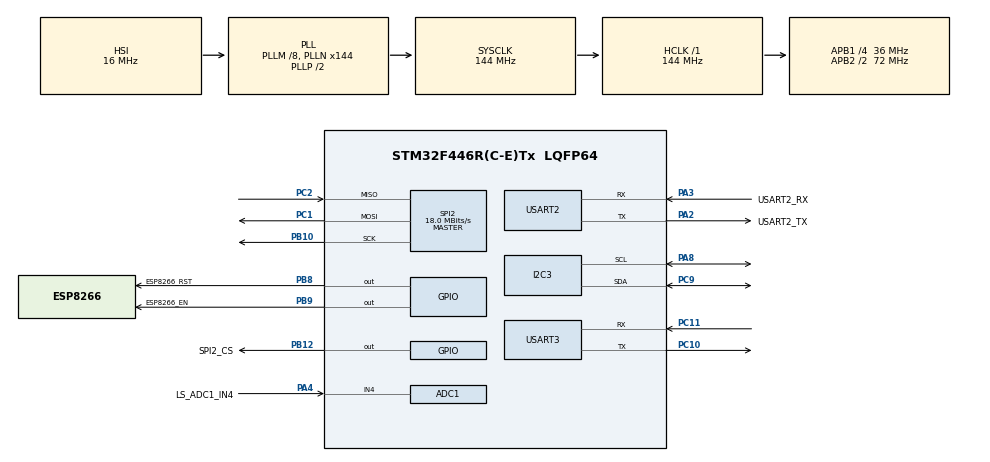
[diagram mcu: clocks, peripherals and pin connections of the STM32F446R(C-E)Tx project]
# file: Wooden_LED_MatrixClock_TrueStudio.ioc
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ADC1.Channel-0\#ChannelRegularConversion=ADC_CHANNEL_4
ADC1.NbrOfConversionFlag=1
ADC1.Rank-0\#ChannelRegularConversion=1
ADC1.SamplingTime-0\#ChannelRegularConversion=ADC_SAMPLETIME_3CYCLES
ADC1.master=1
Mcu.Family=STM32F4
Mcu.Name=STM32F446R(C-E)Tx
Mcu.Package=LQFP64
NVIC.I2C3_ER_IRQn=true\:0\:7\:false\:false\:true\:true\:true
NVIC.I2C3_EV_IRQn=true\:0\:6\:false\:false\:true\:true\:true
NVIC.PriorityGroup=NVIC_PRIORITYGROUP_0
NVIC.RTC_Alarm_IRQn=true\:0\:8\:false\:false\:true\:true\:true
NVIC.SPI2_IRQn=true\:0\:3\:false\:false\:true\:true\:true
NVIC.TIM3_IRQn=true\:0\:1\:false\:false\:true\:true\:true
NVIC.TIM4_IRQn=true\:0\:2\:false\:false\:true\:true\:true
NVIC.USART2_IRQn=true\:0\:4\:false\:false\:true\:true\:true
NVIC.USART3_IRQn=true\:0\:5\:false\:false\:true\:true\:true
PA13.GPIO_Label=SWDIO
PA13.Mode=Serial_Wire
PA13.Signal=SYS_JTMS-SWDIO
PA14.GPIO_Label=SWDCLK
PA14.Mode=Serial_Wire
PA14.Signal=SYS_JTCK-SWCLK
PA2.GPIO_Label=USART2_TX
PA2.Mode=Asynchronous
PA2.Signal=USART2_TX
PA3.GPIO_Label=USART2_RX
PA3.Mode=Asynchronous
PA3.Signal=USART2_RX
PA4.GPIO_Label=LS_ADC1_IN4
PA4.Signal=ADCx_IN4
PA8.Mode=I2C
PA8.Signal=I2C3_SCL
PB10.Mode=Full_Duplex_Master
PB10.Signal=SPI2_SCK
PB12.GPIO_Label=SPI2_CS
PB12.Signal=GPIO_Output
PB8.GPIO_Label=ESP8266_RST
PB8.Signal=GPIO_Output
PB9.GPIO_Label=ESP8266_EN
PB9.Signal=GPIO_Output
PC1.Mode=Full_Duplex_Master
PC1.Signal=SPI2_MOSI
PC10.Mode=Asynchronous
PC10.Signal=USART3_TX
PC11.Mode=Asynchronous
PC11.Signal=USART3_RX
PC14-OSC32_IN.Mode=LSE-External-Oscillator
PC14-OSC32_IN.Signal=RCC_OSC32_IN
PC15-OSC32_OUT.Mode=LSE-External-Oscillator
PC15-OSC32_OUT.Signal=RCC_OSC32_OUT
PC2.Mode=Full_Duplex_Master
PC2.Signal=SPI2_MISO
PC9.Mode=I2C
PC9.Signal=I2C3_SDA
PH0-OSC_IN.Signal=RCC_OSC_IN
PH1-OSC_OUT.Signal=RCC_OSC_OUT
ProjectManager.HeapSize=0x200
ProjectManager.StackSize=0x400
ProjectManager.TargetToolchain=TrueSTUDIO
RCC.48MHZClocksFreq_Value=84000000
RCC.AHBFreq_Value=144000000
RCC.APB1CLKDivider=RCC_HCLK_DIV4
RCC.APB1Freq_Value=36000000
RCC.APB1TimFreq_Value=72000000
RCC.APB2CLKDivider=RCC_HCLK_DIV2
RCC.APB2Freq_Value=72000000
RCC.APB2TimFreq_Value=144000000
RCC.CortexFreq_Value=144000000
RCC.FLatency-AdvancedSettings=FLASH_LATENCY_4
RCC.HCLKFreq_Value=144000000
RCC.HSE_VALUE=8000000
RCC.HSI_VALUE=16000000
RCC.PLLM=8
RCC.PLLN=144
RCC.PLLQ=6
RCC.PLLSAIP=RCC_PLLSAIP_DIV4
RCC.SYSCLKFreq_VALUE=144000000
RCC.SYSCLKSource=RCC_SYSCLKSOURCE_PLLCLK
RCC.USBCLockSelection=RCC_CLK48CLKSOURCE_PLLSAIP
RCC.USBFreq_Value=48000000
RCC.VCOOutputFreq_Value=288000000
RTC.Alarm=RTC_ALARM_A
RTC.Date=13
RTC.Format=RTC_FORMAT_BIN
RTC.Hours=9
RTC.Minutes=23
RTC.Month=RTC_MONTH_SEPTEMBER
RTC.WeekDay=RTC_WEEKDAY_SUNDAY
RTC.Year=20
SH.ADCx_IN4.0=ADC1_IN4,IN4
SPI2.BaudRatePrescaler=SPI_BAUDRATEPRESCALER_2
SPI2.CalculateBaudRate=18.0 MBits/s
SPI2.Direction=SPI_DIRECTION_2LINES
SPI2.Mode=SPI_MODE_MASTER
SPI2.VirtualType=VM_MASTER
TIM3.AutoReloadPreload=TIM_AUTORELOAD_PRELOAD_ENABLE
TIM3.CounterMode=TIM_COUNTERMODE_DOWN
TIM3.Period=1600
TIM3.Prescaler=1000
TIM4.AutoReloadPreload=TIM_AUTORELOAD_PRELOAD_ENABLE
TIM4.CounterMode=TIM_COUNTERMODE_DOWN
TIM4.Period=1500
TIM4.Prescaler=1000
USART2.VirtualMode=VM_ASYNC
USART3.VirtualMode=VM_ASYNC
VP_RTC_VS_RTC_Activate.Mode=RTC_Enabled
VP_RTC_VS_RTC_Alarm_A_Intern.Mode=Alarm A
VP_RTC_VS_RTC_Calendar.Mode=RTC_Calendar
VP_TIM3_VS_ClockSourceINT.Mode=Internal
VP_TIM4_VS_ClockSourceINT.Mode=Internal
board=NUCLEO-F446RE

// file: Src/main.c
/* USER CODE BEGIN Header */
/**
 ******************************************************************************
 * @file           : main.c
 * @brief          : Main program body
 ******************************************************************************
 * @attention
 *
 * <h2><center>&copy; Copyright (c) 2020 STMicroelectronics.
 * All rights reserved.</center></h2>
 *
 * This software component is licensed by ST under BSD 3-Clause license,
 * the "License"; You may not use this file except in compliance with the
 * License. You may obtain a copy of the License at:
 *                        opensource.org/licenses/BSD-3-Clause
 *
 ******************************************************************************
 */
/* USER CODE END Header */

#include "main.h"

void SystemClock_Config(void);

int main(void) {

	/* MCU Configuration--------------------------------------------------------*/

	/* Reset of all peripherals, Initializes the Flash interface and the Systick. */
	HAL_Init();

	/* Configure the system clock */
	SystemClock_Config();

	/* USER CODE BEGIN SysInit */

	/* Initialize all configured peripherals */
	MX_GPIO_Init();
	MX_USART2_UART_Init();
	MX_USART3_UART_Init();
	MX_ADC1_Init();
	MX_I2C3_Init();
	MX_SPI2_Init();
	MX_RTC_Init();
	MX_TIM3_Init();
	MX_TIM4_Init();
	/* USER CODE BEGIN 2 */
	if(Init_Application()!= HAL_OK){
		asm("nop");//debugnop
	}
	Run_Application();
	/* USER CODE END 2 */

	/* Infinite loop */
	/* USER CODE BEGIN WHILE */
	while (1) {
		/* USER CODE END WHILE */

		/* USER CODE BEGIN 3 */
	}
	/* USER CODE END 3 */
}

/**
 * @brief System Clock Configuration
 * @retval None
 */
void SystemClock_Config(void) {
	RCC_OscInitTypeDef RCC_OscInitStruct = { 0 };
	RCC_ClkInitTypeDef RCC_ClkInitStruct = { 0 };
	RCC_PeriphCLKInitTypeDef PeriphClkInitStruct = { 0 };

	/** Configure the main internal regulator output voltage
	 */
	__HAL_RCC_PWR_CLK_ENABLE();
	__HAL_PWR_VOLTAGESCALING_CONFIG(PWR_REGULATOR_VOLTAGE_SCALE1);
	/** Initializes the CPU, AHB and APB busses clocks
	 */
	RCC_OscInitStruct.OscillatorType = RCC_OSCILLATORTYPE_HSI
			| RCC_OSCILLATORTYPE_LSE;
	RCC_OscInitStruct.LSEState = RCC_LSE_ON;
	RCC_OscInitStruct.HSIState = RCC_HSI_ON;
	RCC_OscInitStruct.HSICalibrationValue = RCC_HSICALIBRATION_DEFAULT;
	RCC_OscInitStruct.LSIState = RCC_LSI_OFF;
	RCC_OscInitStruct.PLL.PLLState = RCC_PLL_ON;
	RCC_OscInitStruct.PLL.PLLSource = RCC_PLLSOURCE_HSI;
	RCC_OscInitStruct.PLL.PLLM = 8;
	RCC_OscInitStruct.PLL.PLLN = 144;
	RCC_OscInitStruct.PLL.PLLP = RCC_PLLP_DIV2;
	RCC_OscInitStruct.PLL.PLLQ = 6;
	RCC_OscInitStruct.PLL.PLLR = 2;
	if (HAL_RCC_OscConfig(&RCC_OscInitStruct) != HAL_OK) {
		Error_Handler();
	}
	/** Initializes the CPU, AHB and APB busses clocks
	 */
	RCC_ClkInitStruct.ClockType = RCC_CLOCKTYPE_HCLK | RCC_CLOCKTYPE_SYSCLK
			| RCC_CLOCKTYPE_PCLK1 | RCC_CLOCKTYPE_PCLK2;
	RCC_ClkInitStruct.SYSCLKSource = RCC_SYSCLKSOURCE_PLLCLK;
	RCC_ClkInitStruct.AHBCLKDivider = RCC_SYSCLK_DIV1;
	RCC_ClkInitStruct.APB1CLKDivider = RCC_HCLK_DIV4;
	RCC_ClkInitStruct.APB2CLKDivider = RCC_HCLK_DIV2;

	if (HAL_RCC_ClockConfig(&RCC_ClkInitStruct, FLASH_LATENCY_4) != HAL_OK) {
		Error_Handler();
	}
	PeriphClkInitStruct.PeriphClockSelection = RCC_PERIPHCLK_RTC;
	PeriphClkInitStruct.RTCClockSelection = RCC_RTCCLKSOURCE_LSE;
	if (HAL_RCCEx_PeriphCLKConfig(&PeriphClkInitStruct) != HAL_OK) {
		Error_Handler();
	}
	/**Configure the Systick interrupt time
	 */
	HAL_SYSTICK_Config(HAL_RCC_GetHCLKFreq() / 1000);

	/**Configure the Systick
	 */
	HAL_SYSTICK_CLKSourceConfig(SYSTICK_CLKSOURCE_HCLK);

	/* SysTick_IRQn interrupt configuration */
	HAL_NVIC_SetPriority(SysTick_IRQn, 0, 0);
	/* USER CODE END SysInit */
}

void Error_Handler(void) {
}

/************************ (C) COPYRIGHT STMicroelectronics *****END OF FILE****/
